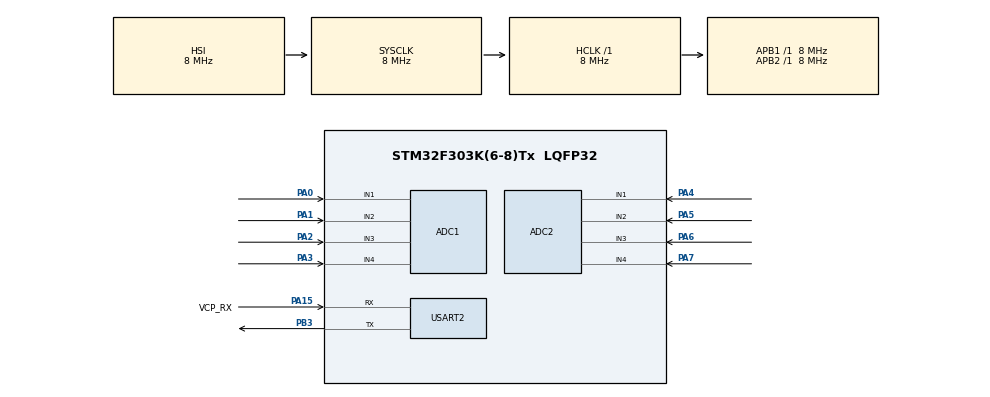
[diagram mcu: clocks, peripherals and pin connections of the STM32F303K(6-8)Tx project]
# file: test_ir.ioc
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ADC1.Channel-0\#ChannelRegularConversion=ADC_CHANNEL_1
ADC1.Channel-1\#ChannelRegularConversion=ADC_CHANNEL_2
ADC1.Channel-2\#ChannelRegularConversion=ADC_CHANNEL_3
ADC1.Channel-3\#ChannelRegularConversion=ADC_CHANNEL_4
ADC1.ClockPrescaler=ADC_CLOCK_SYNC_PCLK_DIV1
ADC1.ExternalTrigConv=ADC_EXTERNALTRIGCONV_T6_TRGO
ADC1.NbrOfConversion=4
ADC1.NbrOfConversionFlag=1
ADC1.Offset-0\#ChannelRegularConversion=0
ADC1.Offset-1\#ChannelRegularConversion=0
ADC1.Offset-2\#ChannelRegularConversion=0
ADC1.Offset-3\#ChannelRegularConversion=0
ADC1.OffsetNumber-0\#ChannelRegularConversion=ADC_OFFSET_NONE
ADC1.OffsetNumber-1\#ChannelRegularConversion=ADC_OFFSET_NONE
ADC1.OffsetNumber-2\#ChannelRegularConversion=ADC_OFFSET_NONE
ADC1.OffsetNumber-3\#ChannelRegularConversion=ADC_OFFSET_NONE
ADC1.Rank-0\#ChannelRegularConversion=1
ADC1.Rank-1\#ChannelRegularConversion=2
ADC1.Rank-2\#ChannelRegularConversion=3
ADC1.Rank-3\#ChannelRegularConversion=4
ADC1.SamplingTime-0\#ChannelRegularConversion=ADC_SAMPLETIME_1CYCLE_5
ADC1.SamplingTime-1\#ChannelRegularConversion=ADC_SAMPLETIME_1CYCLE_5
ADC1.SamplingTime-2\#ChannelRegularConversion=ADC_SAMPLETIME_1CYCLE_5
ADC1.SamplingTime-3\#ChannelRegularConversion=ADC_SAMPLETIME_1CYCLE_5
ADC1.SamplingTimeOPAMP-1\#ChannelRegularConversion=ADC_SAMPLETIME_61CYCLES_5
ADC1.SamplingTimeOPAMP-2\#ChannelRegularConversion=ADC_SAMPLETIME_61CYCLES_5
ADC1.SamplingTimeOPAMP-3\#ChannelRegularConversion=ADC_SAMPLETIME_61CYCLES_5
ADC1.SubFamily=STM32F303x8
ADC1.master=1
ADC2.Channel-0\#ChannelRegularConversion=ADC_CHANNEL_1
ADC2.Channel-1\#ChannelRegularConversion=ADC_CHANNEL_2
ADC2.Channel-2\#ChannelRegularConversion=ADC_CHANNEL_3
ADC2.Channel-3\#ChannelRegularConversion=ADC_CHANNEL_4
ADC2.ClockPrescaler=ADC_CLOCK_SYNC_PCLK_DIV1
ADC2.ExternalTrigConv=ADC_EXTERNALTRIGCONV_T6_TRGO
ADC2.NbrOfConversion=4
ADC2.NbrOfConversionFlag=1
ADC2.Offset-0\#ChannelRegularConversion=0
ADC2.Offset-1\#ChannelRegularConversion=0
ADC2.Offset-2\#ChannelRegularConversion=0
ADC2.Offset-3\#ChannelRegularConversion=0
ADC2.OffsetNumber-0\#ChannelRegularConversion=ADC_OFFSET_NONE
ADC2.OffsetNumber-1\#ChannelRegularConversion=ADC_OFFSET_NONE
ADC2.OffsetNumber-2\#ChannelRegularConversion=ADC_OFFSET_NONE
ADC2.OffsetNumber-3\#ChannelRegularConversion=ADC_OFFSET_NONE
ADC2.Rank-0\#ChannelRegularConversion=1
ADC2.Rank-1\#ChannelRegularConversion=2
ADC2.Rank-2\#ChannelRegularConversion=3
ADC2.Rank-3\#ChannelRegularConversion=4
ADC2.SamplingTime-0\#ChannelRegularConversion=ADC_SAMPLETIME_1CYCLE_5
ADC2.SamplingTime-1\#ChannelRegularConversion=ADC_SAMPLETIME_1CYCLE_5
ADC2.SamplingTime-2\#ChannelRegularConversion=ADC_SAMPLETIME_1CYCLE_5
ADC2.SamplingTime-3\#ChannelRegularConversion=ADC_SAMPLETIME_1CYCLE_5
ADC2.SamplingTimeOPAMP-1\#ChannelRegularConversion=ADC_SAMPLETIME_61CYCLES_5
ADC2.SamplingTimeOPAMP-2\#ChannelRegularConversion=ADC_SAMPLETIME_61CYCLES_5
ADC2.SamplingTimeOPAMP-3\#ChannelRegularConversion=ADC_SAMPLETIME_61CYCLES_5
ADC2.SubFamily=STM32F303x8
Mcu.Family=STM32F3
Mcu.Name=STM32F303K(6-8)Tx
Mcu.Package=LQFP32
NVIC.ADC1_2_IRQn=true\:0\:0\:false\:false\:true\:true\:true\:true
NVIC.PriorityGroup=NVIC_PRIORITYGROUP_4
NVIC.TIM6_DAC1_IRQn=true\:0\:0\:false\:false\:true\:true\:true\:true
PA0.Mode=IN1-Single-Ended
PA0.Signal=ADC1_IN1
PA1.Mode=IN2-Single-Ended
PA1.Signal=ADC1_IN2
PA13.GPIO_Label=SWDIO
PA13.Mode=Serial_Wire
PA13.Signal=SYS_JTMS-SWDIO
PA14.GPIO_Label=SWCLK
PA14.Mode=Serial_Wire
PA14.Signal=SYS_JTCK-SWCLK
PA15.GPIO_Label=VCP_RX
PA15.Mode=Asynchronous
PA15.Signal=USART2_RX
PA2.Mode=IN3-Single-Ended
PA2.Signal=ADC1_IN3
PA3.Mode=IN4-Single-Ended
PA3.Signal=ADC1_IN4
PA4.Mode=IN1-Single-Ended
PA4.Signal=ADC2_IN1
PA5.Mode=IN2-Single-Ended
PA5.Signal=ADC2_IN2
PA6.Mode=IN3-Single-Ended
PA6.Signal=ADC2_IN3
PA7.Mode=IN4-Single-Ended
PA7.Signal=ADC2_IN4
PB3.Mode=Asynchronous
PB3.Signal=USART2_TX
PF0\ /\ OSC_IN.GPIO_Label=MCO
PF0\ /\ OSC_IN.Mode=HSE-External-Clock-Source
PF0\ /\ OSC_IN.Signal=RCC_OSC_IN
ProjectManager.HeapSize=0x200
ProjectManager.StackSize=0x400
ProjectManager.TargetToolchain=STM32CubeIDE
RCC.AHBFreq_Value=8000000
RCC.APB1Freq_Value=8000000
RCC.APB2Freq_Value=8000000
RCC.CortexFreq_Value=8000000
RCC.HSE_VALUE=8000000
RCC.HSI_VALUE=8000000
RCC.PLLSourceVirtual=RCC_PLLSOURCE_HSE
RCC.SYSCLKFreq_VALUE=8000000
TIM6.Period=9999
TIM6.Prescaler=7
TIM6.TIM_MasterOutputTrigger=TIM_TRGO_UPDATE
USART2.VirtualMode-Asynchronous=VM_ASYNC
VP_TIM6_VS_ClockSourceINT.Mode=Enable_Timer
board=NUCLEO-F303K8

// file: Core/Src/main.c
/* USER CODE BEGIN Header */
/**
  ******************************************************************************
  * @file           : main.c
  * @brief          : Main program body
  ******************************************************************************
  * @attention
  *
  * Copyright (c) 2024 STMicroelectronics.
  * All rights reserved.
  *
  * This software is licensed under terms that can be found in the LICENSE file
  * in the root directory of this software component.
  * If no LICENSE file comes with this software, it is provided AS-IS.
  *
  ******************************************************************************
  */
/* USER CODE END Header */
#include "main.h"

ADC_HandleTypeDef hadc1;
ADC_HandleTypeDef hadc2;

TIM_HandleTypeDef htim6;

UART_HandleTypeDef huart2;

void SystemClock_Config(void);
static void MX_GPIO_Init(void);
static void MX_USART2_UART_Init(void);
static void MX_ADC1_Init(void);
static void MX_ADC2_Init(void);
static void MX_TIM6_Init(void);

/* USER CODE BEGIN 0 */

//uint16_t tblADC[8];
//uint16_t tab_adc1[4];
//void HAL_ADC_ConvCpltCallback(ADC_HandleTypeDef* hadc)
//{
//	static uint8_t channel_count=0;
//	if(hadc->Instance == ADC1){
//		tab_adc1[channel_count] = HAL_ADC_GetValue(&hadc1);
//		channel_count++;
//		if(channel_count==4){
//			channel_count=0;
//		}
//	}
//}

uint16_t tblADC[8]; // Tableau pour stocker les valeurs des deux ADCs
void HAL_ADC_ConvCpltCallback(ADC_HandleTypeDef* hadc)
{
    static uint8_t channel_count_adc1 = 0; // Compteur pour les channels d'ADC1
    static uint8_t channel_count_adc2 = 0; // Compteur pour les channels d'ADC2

    if(hadc->Instance == ADC1) // Conversion complète pour ADC1
    {
        tblADC[channel_count_adc1] = HAL_ADC_GetValue(&hadc1); // Stocke la valeur dans tblADC
        channel_count_adc1++;
        if(channel_count_adc1 == 4) // Réinitialise après les 4 channels
        {
            channel_count_adc1 = 0;
        }
    }
    else if(hadc->Instance == ADC2) // Conversion complète pour ADC2
    {
        tblADC[4 + channel_count_adc2] = HAL_ADC_GetValue(&hadc2); // Stocke la valeur après les valeurs d'ADC1
        channel_count_adc2++;
        if(channel_count_adc2 == 4) // Réinitialise après les 4 channels
        {
            channel_count_adc2 = 0;
        }
    }
}
/* USER CODE END 0 */

/* USER CODE END 0 */

int main(void)
{

  /* MCU Configuration--------------------------------------------------------*/

  /* Reset of all peripherals, Initializes the Flash interface and the Systick. */
  HAL_Init();

  /* Configure the system clock */
  SystemClock_Config();

  /* Initialize all configured peripherals */
  MX_GPIO_Init();
  MX_USART2_UART_Init();
  MX_ADC1_Init();
  MX_ADC2_Init();
  MX_TIM6_Init();
  /* USER CODE BEGIN 2 */
  HAL_ADCEx_Calibration_Start(&hadc1, ADC_SINGLE_ENDED);
  HAL_ADCEx_Calibration_Start(&hadc2, ADC_SINGLE_ENDED);
  HAL_ADC_Start_IT(&hadc1);
  HAL_ADC_Start_IT(&hadc2);
  HAL_TIM_Base_Start_IT(&htim6);
  /* USER CODE END 2 */

  /* Infinite loop */
  while (1)
  {

  }
}

void SystemClock_Config(void)
{
  RCC_OscInitTypeDef RCC_OscInitStruct = {0};
  RCC_ClkInitTypeDef RCC_ClkInitStruct = {0};

  /** Initializes the RCC Oscillators according to the specified parameters
  * in the RCC_OscInitTypeDef structure.
  */
  RCC_OscInitStruct.OscillatorType = RCC_OSCILLATORTYPE_HSI;
  RCC_OscInitStruct.HSIState = RCC_HSI_ON;
  RCC_OscInitStruct.HSICalibrationValue = RCC_HSICALIBRATION_DEFAULT;
  RCC_OscInitStruct.PLL.PLLState = RCC_PLL_NONE;
  if (HAL_RCC_OscConfig(&RCC_OscInitStruct) != HAL_OK)
  {
    Error_Handler();
  }

  /** Initializes the CPU, AHB and APB buses clocks
  */
  RCC_ClkInitStruct.ClockType = RCC_CLOCKTYPE_HCLK|RCC_CLOCKTYPE_SYSCLK
                              |RCC_CLOCKTYPE_PCLK1|RCC_CLOCKTYPE_PCLK2;
  RCC_ClkInitStruct.SYSCLKSource = RCC_SYSCLKSOURCE_HSI;
  RCC_ClkInitStruct.AHBCLKDivider = RCC_SYSCLK_DIV1;
  RCC_ClkInitStruct.APB1CLKDivider = RCC_HCLK_DIV1;
  RCC_ClkInitStruct.APB2CLKDivider = RCC_HCLK_DIV1;

  if (HAL_RCC_ClockConfig(&RCC_ClkInitStruct, FLASH_LATENCY_0) != HAL_OK)
  {
    Error_Handler();
  }
}

static void MX_ADC1_Init(void)
{

  ADC_MultiModeTypeDef multimode = {0};
  ADC_ChannelConfTypeDef sConfig = {0};

  /** Common config
  */
  hadc1.Instance = ADC1;
  hadc1.Init.ClockPrescaler = ADC_CLOCK_SYNC_PCLK_DIV1;
  hadc1.Init.Resolution = ADC_RESOLUTION_12B;
  hadc1.Init.ScanConvMode = ADC_SCAN_ENABLE;
  hadc1.Init.ContinuousConvMode = DISABLE;
  hadc1.Init.DiscontinuousConvMode = DISABLE;
  hadc1.Init.ExternalTrigConvEdge = ADC_EXTERNALTRIGCONVEDGE_RISING;
  hadc1.Init.ExternalTrigConv = ADC_EXTERNALTRIGCONV_T6_TRGO;
  hadc1.Init.DataAlign = ADC_DATAALIGN_RIGHT;
  hadc1.Init.NbrOfConversion = 4;
  hadc1.Init.DMAContinuousRequests = DISABLE;
  hadc1.Init.EOCSelection = ADC_EOC_SINGLE_CONV;
  hadc1.Init.LowPowerAutoWait = DISABLE;
  hadc1.Init.Overrun = ADC_OVR_DATA_OVERWRITTEN;
  if (HAL_ADC_Init(&hadc1) != HAL_OK)
  {
    Error_Handler();
  }

  /** Configure the ADC multi-mode
  */
  multimode.Mode = ADC_MODE_INDEPENDENT;
  if (HAL_ADCEx_MultiModeConfigChannel(&hadc1, &multimode) != HAL_OK)
  {
    Error_Handler();
  }

  /** Configure Regular Channel
  */
  sConfig.Channel = ADC_CHANNEL_1;
  sConfig.Rank = ADC_REGULAR_RANK_1;
  sConfig.SingleDiff = ADC_SINGLE_ENDED;
  sConfig.SamplingTime = ADC_SAMPLETIME_1CYCLE_5;
  sConfig.OffsetNumber = ADC_OFFSET_NONE;
  sConfig.Offset = 0;
  if (HAL_ADC_ConfigChannel(&hadc1, &sConfig) != HAL_OK)
  {
    Error_Handler();
  }

  /** Configure Regular Channel
  */
  sConfig.Channel = ADC_CHANNEL_2;
  sConfig.Rank = ADC_REGULAR_RANK_2;
  if (HAL_ADC_ConfigChannel(&hadc1, &sConfig) != HAL_OK)
  {
    Error_Handler();
  }

  /** Configure Regular Channel
  */
  sConfig.Channel = ADC_CHANNEL_3;
  sConfig.Rank = ADC_REGULAR_RANK_3;
  if (HAL_ADC_ConfigChannel(&hadc1, &sConfig) != HAL_OK)
  {
    Error_Handler();
  }

  /** Configure Regular Channel
  */
  sConfig.Channel = ADC_CHANNEL_4;
  sConfig.Rank = ADC_REGULAR_RANK_4;
  if (HAL_ADC_ConfigChannel(&hadc1, &sConfig) != HAL_OK)
  {
    Error_Handler();
  }

}

static void MX_ADC2_Init(void)
{

  ADC_ChannelConfTypeDef sConfig = {0};

  /** Common config
  */
  hadc2.Instance = ADC2;
  hadc2.Init.ClockPrescaler = ADC_CLOCK_SYNC_PCLK_DIV1;
  hadc2.Init.Resolution = ADC_RESOLUTION_12B;
  hadc2.Init.ScanConvMode = ADC_SCAN_ENABLE;
  hadc2.Init.ContinuousConvMode = DISABLE;
  hadc2.Init.DiscontinuousConvMode = DISABLE;
  hadc2.Init.ExternalTrigConvEdge = ADC_EXTERNALTRIGCONVEDGE_RISING;
  hadc2.Init.ExternalTrigConv = ADC_EXTERNALTRIGCONV_T6_TRGO;
  hadc2.Init.DataAlign = ADC_DATAALIGN_RIGHT;
  hadc2.Init.NbrOfConversion = 4;
  hadc2.Init.DMAContinuousRequests = DISABLE;
  hadc2.Init.EOCSelection = ADC_EOC_SINGLE_CONV;
  hadc2.Init.LowPowerAutoWait = DISABLE;
  hadc2.Init.Overrun = ADC_OVR_DATA_OVERWRITTEN;
  if (HAL_ADC_Init(&hadc2) != HAL_OK)
  {
    Error_Handler();
  }

  /** Configure Regular Channel
  */
  sConfig.Channel = ADC_CHANNEL_1;
  sConfig.Rank = ADC_REGULAR_RANK_1;
  sConfig.SingleDiff = ADC_SINGLE_ENDED;
  sConfig.SamplingTime = ADC_SAMPLETIME_1CYCLE_5;
  sConfig.OffsetNumber = ADC_OFFSET_NONE;
  sConfig.Offset = 0;
  if (HAL_ADC_ConfigChannel(&hadc2, &sConfig) != HAL_OK)
  {
    Error_Handler();
  }

  /** Configure Regular Channel
  */
  sConfig.Channel = ADC_CHANNEL_2;
  sConfig.Rank = ADC_REGULAR_RANK_2;
  if (HAL_ADC_ConfigChannel(&hadc2, &sConfig) != HAL_OK)
  {
    Error_Handler();
  }

  /** Configure Regular Channel
  */
  sConfig.Channel = ADC_CHANNEL_3;
  sConfig.Rank = ADC_REGULAR_RANK_3;
  if (HAL_ADC_ConfigChannel(&hadc2, &sConfig) != HAL_OK)
  {
    Error_Handler();
  }

  /** Configure Regular Channel
  */
  sConfig.Channel = ADC_CHANNEL_4;
  sConfig.Rank = ADC_REGULAR_RANK_4;
  if (HAL_ADC_ConfigChannel(&hadc2, &sConfig) != HAL_OK)
  {
    Error_Handler();
  }

}

static void MX_TIM6_Init(void)
{

  TIM_MasterConfigTypeDef sMasterConfig = {0};

  htim6.Instance = TIM6;
  htim6.Init.Prescaler = 7;
  htim6.Init.CounterMode = TIM_COUNTERMODE_UP;
  htim6.Init.Period = 9999;
  htim6.Init.AutoReloadPreload = TIM_AUTORELOAD_PRELOAD_DISABLE;
  if (HAL_TIM_Base_Init(&htim6) != HAL_OK)
  {
    Error_Handler();
  }
  sMasterConfig.MasterOutputTrigger = TIM_TRGO_UPDATE;
  sMasterConfig.MasterSlaveMode = TIM_MASTERSLAVEMODE_DISABLE;
  if (HAL_TIMEx_MasterConfigSynchronization(&htim6, &sMasterConfig) != HAL_OK)
  {
    Error_Handler();
  }

}

static void MX_USART2_UART_Init(void)
{

  huart2.Instance = USART2;
  huart2.Init.BaudRate = 38400;
  huart2.Init.WordLength = UART_WORDLENGTH_8B;
  huart2.Init.StopBits = UART_STOPBITS_1;
  huart2.Init.Parity = UART_PARITY_NONE;
  huart2.Init.Mode = UART_MODE_TX_RX;
  huart2.Init.HwFlowCtl = UART_HWCONTROL_NONE;
  huart2.Init.OverSampling = UART_OVERSAMPLING_16;
  huart2.Init.OneBitSampling = UART_ONE_BIT_SAMPLE_DISABLE;
  huart2.AdvancedInit.AdvFeatureInit = UART_ADVFEATURE_NO_INIT;
  if (HAL_UART_Init(&huart2) != HAL_OK)
  {
    Error_Handler();
  }

}

static void MX_GPIO_Init(void)
{

  /* GPIO Ports Clock Enable */
  __HAL_RCC_GPIOF_CLK_ENABLE();
  __HAL_RCC_GPIOA_CLK_ENABLE();
  __HAL_RCC_GPIOB_CLK_ENABLE();

}

void Error_Handler(void)
{
  __disable_irq();
  while (1)
  {
  }
}
